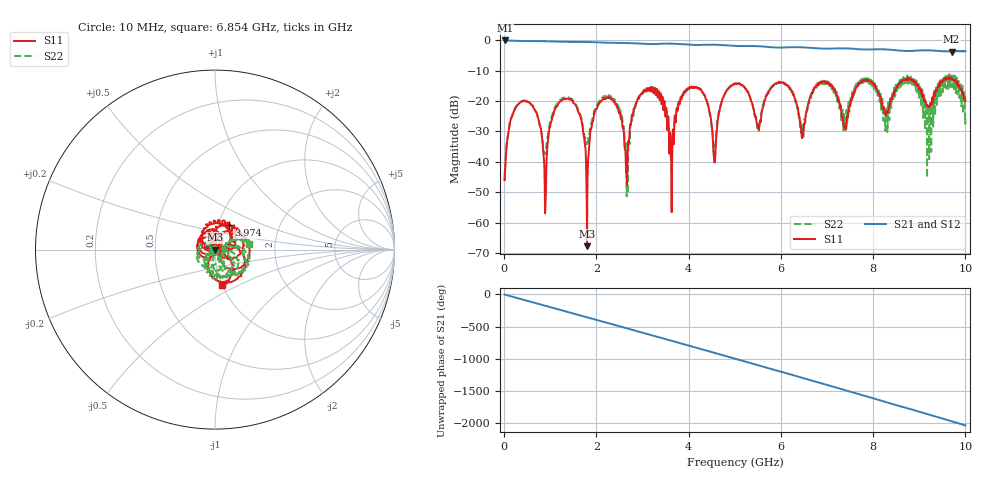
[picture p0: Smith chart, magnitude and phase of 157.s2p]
!Keysight Technologies,E5080B,MY59205177,A.15.75.32
!Date: Friday, February 23, 2024 03:41:49
!Correction: S11(Cdelta 2-Port  )
!S21(Cdelta 2-Port  )
!S12(Cdelta 2-Port  )
!S22(Cdelta 2-Port  )
!S2P File: Measurements: S11, S21, S12, S22:
# Hz S  dB  R 50
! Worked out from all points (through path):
!   10001 points, 10 MHz to 10 GHz, reference 50 ohm
!   highest |S21| = -0.01 dB at 14 MHz (marker M1); lowest = -3.7 dB at 9.701 GHz (marker M2)
!   group delay of S21, straight-line fit = 566 ps
!   lowest |S11| = -67.8 dB at 1.797 GHz (marker M3), VSWR 1.00, Z = 50 + j0.0397 ohm
!   |S11| at or under -10 dB: start of sweep to end of sweep
!   |S22| runs from -51.4 to -11.1 dB; largest |S21 - S12| = 0.0016
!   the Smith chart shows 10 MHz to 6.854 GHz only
!   S11 on the Smith chart (normalised r, x): 10 MHz: 1.01, -0.00; 3.974 GHz: 1.12, +0.31; 6.854 GHz: 0.99, -0.42
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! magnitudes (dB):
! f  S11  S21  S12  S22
! 10 MHz  -46.0  0.0  0.0  -45.9
! 14 MHz  -43.3  0.0  0.0  -45.3
! 374.6 MHz  -20.2  -0.2  -0.2  -20.1
! 888.1 MHz  -56.2  -0.3  -0.3  -37.2
! 1.175 GHz  -20.8  -0.4  -0.4  -20.3
! 1.675 GHz  -26.2  -0.5  -0.5  -25.7
! 1.797 GHz  -67.8  -0.5  -0.5  -33.5
! 2.108 GHz  -19.8  -0.7  -0.7  -19.0
! 2.664 GHz  -47.6  -0.9  -0.9  -43.1
! 2.907 GHz  -19.3  -1.0  -1.0  -18.8
! 3.341 GHz  -17.5  -1.1  -1.1  -17.6
! 3.627 GHz  -47.1  -1.1  -1.1  -41.7
! 3.974 GHz  -16.2  -1.3  -1.3  -16.0
! 4.562 GHz  -40.0  -1.4  -1.4  -38.4
! 5.005 GHz  -14.1  -1.8  -1.8  -14.4
! 6.108 GHz  -14.6  -2.3  -2.3  -14.7
! 6.464 GHz  -31.7  -2.3  -2.3  -27.8
! 6.67 GHz  -17.4  -2.5  -2.5  -17.0
! 6.854 GHz  -13.7  -2.7  -2.7  -14.5
! 8.336 GHz  -22.6  -3.0  -3.0  -20.9
! 9.701 GHz  -12.2  -3.7  -3.7  -13.8
! 10 GHz  -19.9  -3.6  -3.6  -25.3
